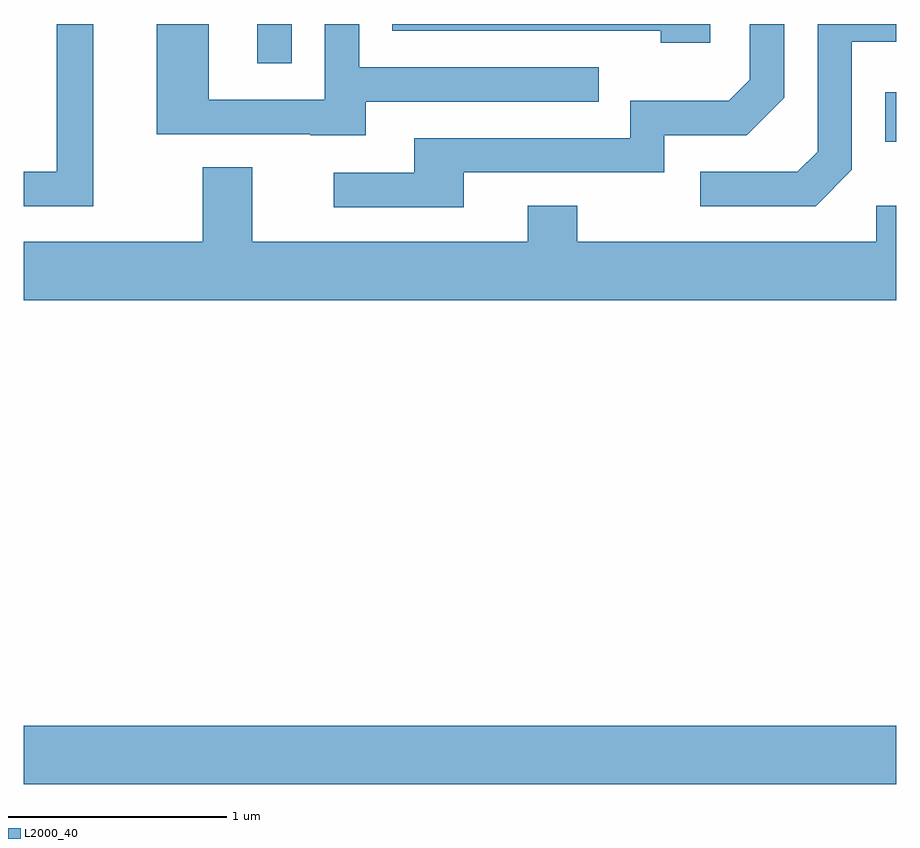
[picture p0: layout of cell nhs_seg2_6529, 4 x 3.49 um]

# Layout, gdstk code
import gdstk
lib = gdstk.Library(unit=1e-6, precision=1e-09)
def R(c, l, rs):  # rectangles x0, y0, x1, y1
    for r in rs: c.add(gdstk.rectangle(r[:2], r[2:], *l))
def P(c, l, *ps):  # polygons
    for p in ps: c.add(gdstk.Polygon(p, *l))
L2000_40 = (2000, 40)

nhs_seg2_6529 = lib.new_cell('nhs_seg2_6529')
R(nhs_seg2_6529, L2000_40, [(377.611,1048.316,381.611,1048.584), (381.561,1051.261,381.611,1051.489), (378.681,1051.623,378.839,1051.802)])
P(nhs_seg2_6529, L2000_40, [(379.179,1051.446),(380.248,1051.446),(380.248,1051.604),(379.149,1051.604),(379.149,1051.802),(378.991,1051.802),(378.991,1051.454),(378.459,1051.454),(378.459,1051.802),(378.221,1051.802),(378.221,1051.296),(378.925,1051.296),(378.925,1051.291),(379.179,1051.291)],
  [(381.409,1051.134),(381.409,1051.721),(381.611,1051.721),(381.611,1051.802),(381.251,1051.802),(381.251,1051.217),(381.159,1051.124),(380.713,1051.124),(380.713,1050.966),(381.242,1050.966)],
  [(380.759,1051.802),(379.301,1051.802),(379.301,1051.771),(380.531,1051.771),(380.531,1051.716),(380.759,1051.716)],
  [(379.629,1051.121),(380.549,1051.121),(380.549,1051.291),(380.927,1051.291),(381.099,1051.464),(381.099,1051.802),(380.941,1051.802),(380.941,1051.547),(380.844,1051.449),(380.391,1051.449),(380.391,1051.279),(379.401,1051.279),(379.401,1051.119),(379.033,1051.119),(379.033,1050.961),(379.629,1050.961)],
  [(377.929,1051.802),(377.761,1051.802),(377.761,1051.124),(377.611,1051.124),(377.611,1050.966),(377.929,1050.966)],
  [(381.611,1050.969),(381.521,1050.969),(381.521,1050.804),(380.149,1050.804),(380.149,1050.969),(379.921,1050.969),(379.921,1050.804),(378.659,1050.804),(378.659,1051.144),(378.431,1051.144),(378.431,1050.804),(377.611,1050.804),(377.611,1050.536),(381.611,1050.536)])

lib.write_gds('nhs_seg2_6529.gds')
